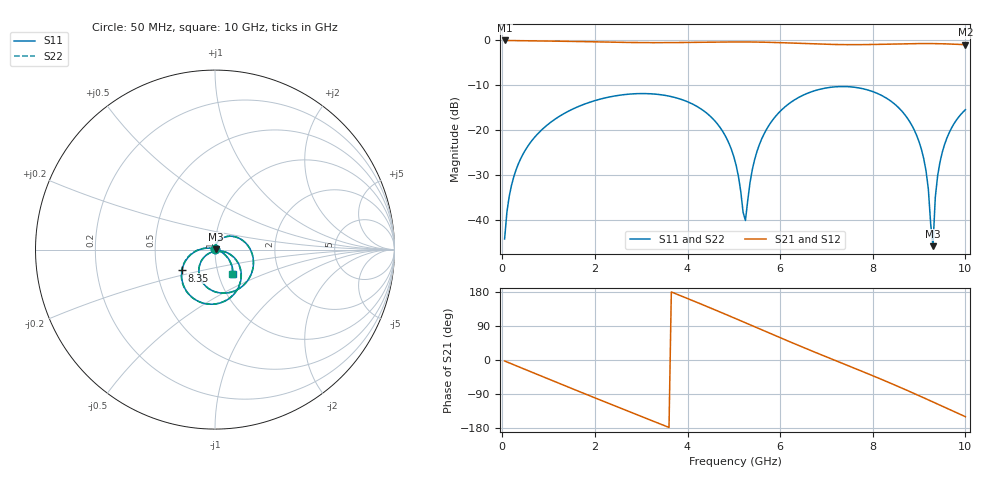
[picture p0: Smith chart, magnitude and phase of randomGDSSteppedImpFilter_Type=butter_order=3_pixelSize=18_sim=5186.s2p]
! freq	dB(S11)	phase(S11)	dB(S12)	phase(S12)
!  dB(S21)	phase(S21)	dB(S22)	phase(S22)
!S-par simulation data
#  GHz  S  DB  R 50
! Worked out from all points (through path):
!   200 points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, 50 MHz to 10 GHz, reference 50 ohm
!   highest |S21| = 0.00 dB at 50 MHz (marker M1); lowest = -1.0 dB at 10 GHz (marker M2)
!   group delay of S21, straight-line fit = 141 ps
!   lowest |S11| = -45.9 dB at 9.3 GHz (marker M3), VSWR 1.01, Z = 50.5 + j0.108 ohm
!   |S11| at or under -10 dB: start of sweep to end of sweep
!   |S22| runs from -46.1 to -10.3 dB; largest |S21 - S12| = 0
!   S11 on the Smith chart (normalised r, x): 50 MHz: 1.00, +0.01; 8.35 GHz: 0.67, -0.16; 10 GHz: 1.17, -0.33
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0.05  -44.30 86.5  -0.00 -2.6  -0.00 -2.6  -44.30 86.4
0.2  -32.29 79.4  -0.02 -10.2  -0.02 -10.2  -32.29 79.3
0.5  -24.43 64.3  -0.06 -25.3  -0.06 -25.3  -24.43 64.2
1.15  -17.49 32.2  -0.14 -57.8  -0.14 -57.8  -17.49 32.0
1.75  -14.30 2.7  -0.26 -87.6  -0.26 -87.6  -14.31 2.5
2.5  -12.27 -33.8  -0.41 -124.4  -0.41 -124.4  -12.27 -34.1
3.4  -12.09 -77.0  -0.49 -168.2  -0.49 -168.2  -12.09 -77.3
4.5  -17.01 -129.3  -0.38 137.1  -0.38 137.1  -17.01 -129.6
5.05  -27.89 -148.0  -0.33 108.7  -0.33 108.7  -27.87 -148.0
5.25  -40.19 -64.7  -0.34 98.2  -0.34 98.2  -39.93 -65.8
5.4  -28.77 -13.2  -0.35 90.4  -0.35 90.4  -28.76 -14.2
5.65  -20.92 -17.5  -0.39 77.2  -0.39 77.2  -20.92 -18.2
6.7  -11.37 -66.9  -0.76 23.1  -0.76 23.1  -11.37 -67.5
7.5  -10.34 -105.6  -0.94 -16.6  -0.94 -16.6  -10.34 -106.2
8.35  -13.25 -147.7  -0.82 -59.4  -0.82 -59.4  -13.25 -148.4
8.75  -17.38 -168.7  -0.73 -80.6  -0.73 -80.6  -17.37 -169.5
9.05  -24.29 174.2  -0.69 -97.0  -0.69 -97.0  -24.25 173.1
9.2  -33.17 162.3  -0.69 -105.2  -0.69 -105.2  -33.03 160.7
9.3  -45.92 12.2  -0.70 -110.8  -0.70 -110.8  -46.14 17.1
9.35  -35.03 -12.5  -0.71 -113.6  -0.71 -113.6  -35.19 -12.2
9.5  -24.98 -25.6  -0.74 -121.9  -0.74 -121.9  -25.05 -26.2
10  -15.47 -53.9  -0.95 -149.6  -0.95 -149.6  -15.51 -54.8
